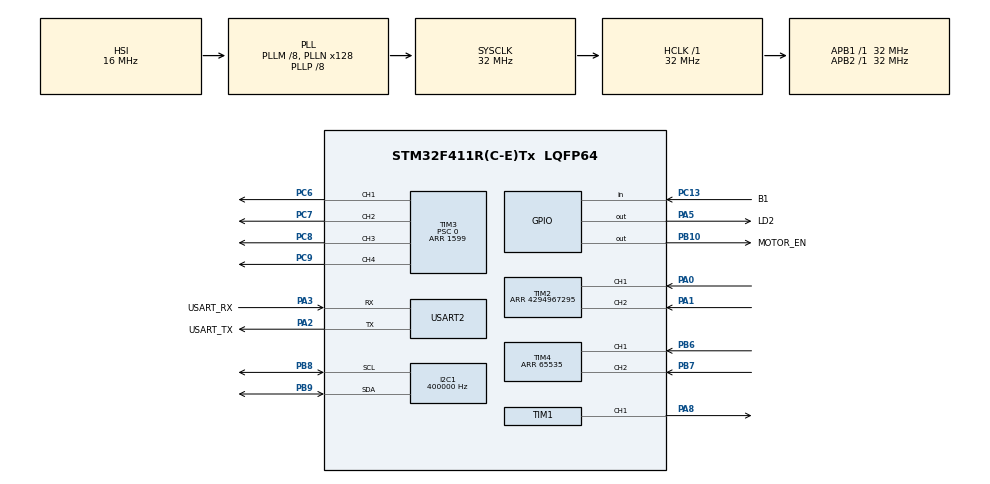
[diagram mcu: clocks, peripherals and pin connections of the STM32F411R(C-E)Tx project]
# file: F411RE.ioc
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I2C1.ClockSpeed=400000
I2C1.DutyCycle=I2C_DUTYCYCLE_2
I2C1.I2C_Mode=I2C_Fast
Mcu.Family=STM32F4
Mcu.Name=STM32F411R(C-E)Tx
Mcu.Package=LQFP64
NVIC.PriorityGroup=NVIC_PRIORITYGROUP_4
NVIC.TIM5_IRQn=true\:0\:0\:false\:false\:true\:true\:true\:true
PA0-WKUP.Signal=S_TIM2_CH1_ETR
PA1.Signal=S_TIM2_CH2
PA13.GPIO_Label=TMS
PA13.Mode=Serial_Wire
PA13.Signal=SYS_JTMS-SWDIO
PA14.GPIO_Label=TCK
PA14.Mode=Serial_Wire
PA14.Signal=SYS_JTCK-SWCLK
PA2.GPIO_Label=USART_TX
PA2.GPIO_Speed=GPIO_SPEED_FREQ_VERY_HIGH
PA2.Mode=Asynchronous
PA2.Signal=USART2_TX
PA3.GPIO_Label=USART_RX
PA3.GPIO_Speed=GPIO_SPEED_FREQ_VERY_HIGH
PA3.Mode=Asynchronous
PA3.Signal=USART2_RX
PA5.GPIO_Label=LD2
PA5.Signal=GPIO_Output
PA8.Signal=S_TIM1_CH1
PB10.GPIO_Label=MOTOR_EN
PB10.Signal=GPIO_Output
PB3.GPIO_Label=SWO
PB3.Signal=SYS_JTDO-SWO
PB6.Signal=S_TIM4_CH1
PB7.Signal=S_TIM4_CH2
PB8.GPIO_Speed=GPIO_SPEED_FREQ_VERY_HIGH
PB8.Mode=I2C
PB8.Signal=I2C1_SCL
PB9.GPIO_Speed=GPIO_SPEED_FREQ_VERY_HIGH
PB9.Mode=I2C
PB9.Signal=I2C1_SDA
PC13-ANTI_TAMP.GPIO_Label=B1
PC13-ANTI_TAMP.Signal=GPIO_Input
PC6.Signal=S_TIM3_CH1
PC7.Signal=S_TIM3_CH2
PC8.Signal=S_TIM3_CH3
PC9.Signal=S_TIM3_CH4
ProjectManager.HeapSize=0x200
ProjectManager.StackSize=0x400
ProjectManager.TargetToolchain=CMake
RCC.AHBFreq_Value=32000000
RCC.APB1CLKDivider=RCC_HCLK_DIV1
RCC.APB1Freq_Value=32000000
RCC.APB1TimFreq_Value=32000000
RCC.APB2Freq_Value=32000000
RCC.APB2TimFreq_Value=32000000
RCC.CortexFreq_Value=32000000
RCC.FLatency-AdvancedSettings=FLASH_LATENCY_1
RCC.HCLKFreq_Value=32000000
RCC.HSE_VALUE=8000000
RCC.HSI_VALUE=16000000
RCC.PLLM=8
RCC.PLLN=128
RCC.PLLP=RCC_PLLP_DIV8
RCC.PLLQ=8
RCC.PWR_Regulator_Voltage_Scale=PWR_REGULATOR_VOLTAGE_SCALE3
RCC.SYSCLKFreq_VALUE=32000000
RCC.SYSCLKSource=RCC_SYSCLKSOURCE_PLLCLK
RCC.VCOOutputFreq_Value=256000000
SH.S_TIM1_CH1.0=TIM1_CH1,PWM Generation1 CH1
SH.S_TIM2_CH1_ETR.0=TIM2_CH1,Encoder_Interface
SH.S_TIM2_CH2.0=TIM2_CH2,Encoder_Interface
SH.S_TIM3_CH1.0=TIM3_CH1,PWM Generation1 CH1
SH.S_TIM3_CH2.0=TIM3_CH2,PWM Generation2 CH2
SH.S_TIM3_CH3.0=TIM3_CH3,PWM Generation3 CH3
SH.S_TIM3_CH4.0=TIM3_CH4,PWM Generation4 CH4
SH.S_TIM4_CH1.0=TIM4_CH1,Encoder_Interface
SH.S_TIM4_CH2.0=TIM4_CH2,Encoder_Interface
TIM1.Channel-PWM\ Generation1\ CH1=TIM_CHANNEL_1
TIM1.Period=19999
TIM1.Prescaler=31
TIM2.EncoderMode=TIM_ENCODERMODE_TI12
TIM2.IC1Filter=8
TIM2.IC2Filter=8
TIM2.Period=4294967295
TIM3.Channel-PWM\ Generation1\ CH1=TIM_CHANNEL_1
TIM3.Channel-PWM\ Generation2\ CH2=TIM_CHANNEL_2
TIM3.Channel-PWM\ Generation3\ CH3=TIM_CHANNEL_3
TIM3.Channel-PWM\ Generation4\ CH4=TIM_CHANNEL_4
TIM3.Period=1599
TIM3.Prescaler=0
TIM4.EncoderMode=TIM_ENCODERMODE_TI12
TIM4.IC1Filter=8
TIM4.IC2Filter=8
TIM4.Period=65535
TIM5.Period=99
TIM5.Prescaler=3199
USART2.VirtualMode=VM_ASYNC
VP_TIM1_VS_ClockSourceINT.Mode=Internal
VP_TIM3_VS_ClockSourceINT.Mode=Internal
VP_TIM5_VS_ClockSourceINT.Mode=Internal
board=NUCLEO-F411RE

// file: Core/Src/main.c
/* USER CODE BEGIN Header */
/**
  ******************************************************************************
  * @file           : main.c
  * @brief          : Main program body
  ******************************************************************************
  * @attention
  *
  * Copyright (c) 2026 STMicroelectronics.
  * All rights reserved.
  *
  * This software is licensed under terms that can be found in the LICENSE file
  * in the root directory of this software component.
  * If no LICENSE file comes with this software, it is provided AS-IS.
  *
  ******************************************************************************
  */
/* USER CODE END Header */
#include "main.h"

/* USER CODE BEGIN Includes */
#include <stdio.h>
#include "constants.h"
#include "pins.h"
#include "motor.h"
#include "servo.h"
#include "control.h"
#include "bno085.h"
#include "heading_hold.h"
#include "distance.h"
#include "math_utils.h"
#include <math.h>
#include "route.h"
#include "route_steps.h"

/* USER CODE END Includes */

I2C_HandleTypeDef hi2c1;

TIM_HandleTypeDef htim1;
TIM_HandleTypeDef htim2;
TIM_HandleTypeDef htim3;
TIM_HandleTypeDef htim4;
TIM_HandleTypeDef htim5;

UART_HandleTypeDef huart2;

/* USER CODE BEGIN PV */
/* Written by the TIM5 interrupt, read by the main loop */
static volatile uint32_t sample_seq     = 0;  /* number of encoder samples since the start */
static volatile uint16_t sample_count_l = 0;  /* left encoder count at the last sample     */
static volatile uint16_t sample_count_r = 0;  /* right encoder count at the last sample    */
UART_HandleTypeDef huart_bt;                  /* Bluetooth module link (USART1). The IRQ handler uses it. */
/* USER CODE END PV */

void SystemClock_Config(void);
static void MX_GPIO_Init(void);
static void MX_USART2_UART_Init(void);
static void MX_TIM1_Init(void);
static void MX_TIM5_Init(void);
static void MX_I2C1_Init(void);
static void MX_TIM2_Init(void);
static void MX_TIM3_Init(void);
static void MX_TIM4_Init(void);

/* USER CODE BEGIN 0 */
static Motor motor_l, motor_r;
static Servo servo;

static Bno085      imu;
static HeadingHold heading;
static Control     ctl;   /* control core (control.c): the same code runs in the dashboard sim */

/* Route runner (route.c, the same code as the dashboard sim). Key R runs the route of route_steps.h.
 * Any other operator key stops it. */
static Route   route;
static int32_t odo_counts_l = 0, odo_counts_r = 0;  /* encoder counts since the start, + = forward */
static int     route_step_sent = -1;                 /* step number last sent on the links          */

/* Distance for the telemetry: millimeters, -1 = no target, -2 = not valid. */
static int distance_for_telemetry(DistId id)
{
  uint16_t mm = 0;
  switch (distance_read(id, &mm))
  {
    case DIST_OK:        return (int)mm;
    case DIST_NO_TARGET: return -1;
    default:             return -2;
  }
}

/* Bluetooth module (HC-06) on USART1, BT_BAUD, 8 data bits, no parity, 1 stop bit.
 * shortcut: set up here, not in CubeMX. If you add USART1 in CubeMX, remove this function. */
static void bt_init(void)
{
  __HAL_RCC_GPIOA_CLK_ENABLE();
  __HAL_RCC_USART1_CLK_ENABLE();
  GPIO_InitTypeDef gpio = {0};
  gpio.Pin       = BT_TX_PIN | BT_RX_PIN;
  gpio.Mode      = GPIO_MODE_AF_PP;
  gpio.Pull      = GPIO_PULLUP;  /* RX stays high (idle) when no module is connected: no false keys */
  gpio.Speed     = GPIO_SPEED_FREQ_LOW;
  gpio.Alternate = BT_GPIO_AF;
  HAL_GPIO_Init(BT_GPIO_PORT, &gpio);

  huart_bt.Instance            = BT_UART;
  huart_bt.Init.BaudRate       = BT_BAUD;
  huart_bt.Init.WordLength     = UART_WORDLENGTH_8B;
  huart_bt.Init.StopBits       = UART_STOPBITS_1;
  huart_bt.Init.Parity         = UART_PARITY_NONE;
  huart_bt.Init.Mode           = UART_MODE_TX_RX;
  huart_bt.Init.HwFlowCtl      = UART_HWCONTROL_NONE;
  huart_bt.Init.OverSampling   = UART_OVERSAMPLING_16;
  if (HAL_UART_Init(&huart_bt) != HAL_OK) { Error_Handler(); }
  HAL_NVIC_SetPriority(BT_UART_IRQn, 5, 0);  /* transmission only; the keys are polled */
  HAL_NVIC_EnableIRQ(BT_UART_IRQn);
}

/* Read one received character. Returns -1 when there is none. This function does not wait.
 * A character with a framing, noise or parity error is not used.
 * F4 USART: read SR, then DR. This sequence also clears ORE, FE, NE and PE. */
static int read_char(USART_TypeDef *uart)
{
  const uint32_t sr = uart->SR;
  if ((sr & USART_SR_RXNE) == 0U)
  {
    if ((sr & USART_SR_ORE) != 0U) { (void)uart->DR; }  /* overrun and no data: clear the flag */
    return -1;
  }
  const int ch = (int)(uart->DR & 0xFFU);
  if ((sr & (USART_SR_FE | USART_SR_NE | USART_SR_PE)) != 0U) { return -1; }
  return ch;
}

/* printf (syscalls.c, _write) sends each character here: USART2, the ST-LINK virtual COM port. */
int __io_putchar(int ch)
{
  uint8_t c = (uint8_t)ch;
  (void)HAL_UART_Transmit(&huart2, &c, 1U, HAL_MAX_DELAY);
  return ch;
}

/* Send a telemetry line on the two links. The USB link (printf) waits; the Bluetooth link uses
 * the interrupt and does not wait. When the previous Bluetooth line is not sent yet, this line
 * is not sent on Bluetooth (9600 baud is slow). */
static void send_line(const char *line, int len)
{
  static char bt_tx[160];
  if (len <= 0) { return; }
  if (len >= (int)sizeof bt_tx) { len = (int)sizeof bt_tx - 1; }
  printf("%s", line);
  if (huart_bt.gState == HAL_UART_STATE_READY)
  {
    for (int i = 0; i < len; i++) { bt_tx[i] = line[i]; }
    (void)HAL_UART_Transmit_IT(&huart_bt, (uint8_t *)bt_tx, (uint16_t)len);
  }
}

/* Send the outputs of the control core to the motors, the servo and the enable pin. */
static void apply_outputs(void)
{
  HAL_GPIO_WritePin(MOTOR_EN_GPIO_Port, MOTOR_EN_Pin, ctl.motor_enable ? GPIO_PIN_SET : GPIO_PIN_RESET);
  motor_set(&motor_l, ctl.cmd_l);
  motor_set(&motor_r, ctl.cmd_r);
  servo_set_deg(&servo, ctl.steer_deg);
}

/* The TIM5 interrupt gives the encoder samples. Copy them without an interrupt in between. */
static void wheel_control(uint32_t now)
{
  __disable_irq();
  const uint32_t seq     = sample_seq;
  const uint16_t count_l = sample_count_l;
  const uint16_t count_r = sample_count_r;
  __enable_irq();
  /* Wheel distance for the route runner. The 16-bit difference also works over the counter wrap. */
  static uint32_t odo_seq = 0;
  static uint16_t odo_prev_l = 0, odo_prev_r = 0;
  if (seq != odo_seq)
  {
    odo_counts_l += ENC_DIR_LEFT * (int16_t)(uint16_t)(count_l - odo_prev_l);
    odo_counts_r += ENC_DIR_RIGHT * (int16_t)(uint16_t)(count_r - odo_prev_r);
    odo_prev_l = count_l; odo_prev_r = count_r; odo_seq = seq;
  }
  control_wheels(&ctl, seq, count_l, count_r, now);
}

/* ToF readings for the route runner, in RouteSensor order. -1 = no target, or not valid. */
static void route_read_tof(void *ctx, int32_t mm[3])
{
  (void)ctx;
  for (int k = 0; k < 3; k++)
  {
    uint16_t v = 0;
    mm[k] = (DISTANCE_ENABLE && distance_read((DistId)k, &v) == DIST_OK) ? (int32_t)v : -1;
  }
}

/* One route line on the two links: "route " + text. The dashboard reads these lines. */
static void route_line(const char *text)
{
  char line[ROUTE_MSG_LEN + 80];
  send_line(line, snprintf(line, sizeof line, "route %s\r\n", text));
}

/* Id of the flashed route and its step count. The dashboard compares the id with its saved route. */
static void route_send_id(void)
{
  char t[48];
  snprintf(t, sizeof t, "id %s %d", ROUTE_ID, ROUTE_STEP_COUNT);
  route_line(t);
}

/* One key from an operator link (USB or Bluetooth). R: run the route. ?: send the route id.
 * Other keys: stop the route, then give the key to the control core. */
static void operator_key(char k, uint32_t now)
{
  if (k == 'r' || k == 'R')
  {
    if (!route.running)
    {
      RouteConfig cfg;
      route_config_default(&cfg);
      route_start(&route, ROUTE_STEPS, ROUTE_STEP_COUNT, 0, false, &cfg, route_read_tof, NULL);
      route_step_sent = -1;
      route_send_id();
      route_line("run");
    }
    return;
  }
  if (k == '?') { route_send_id(); return; }
  if (route.running) { route_stop(&route); route_line("stop"); }
  control_key(&ctl, k, now);
}

/* Each main loop, before the operator keys: one step of the route runner, as in the dashboard sim. */
static void route_tick(uint32_t now)
{
  if (!route.running) { return; }
  const RouteInput in = {
    now,
    (float)(odo_counts_l + odo_counts_r) * 0.5f / (float)COUNTS_PER_WHEEL_REV * 3.14159265f * WHEEL_DIAMETER_MM,
    ctl.current_yaw, ctl.heading_goal, fmaxf(fabsf(ctl.rpm_l), fabsf(ctl.rpm_r)) };
  route_step(&route, &in);
  if (route.set_goal) { ctl.heading_goal = route.goal_deg; }
  for (int k = 0; k < route.nkeys; k++) { control_key(&ctl, route.keys[k], now); }
  for (int k = 0; k < route.nmsg; k++)
  {
    char t[ROUTE_MSG_LEN + 64];
    const unsigned long s = now / 1000U, ds = now % 1000U / 100U;
    if (route.report[k] >= 0)  /* checkpoint: the car cannot know its true error, so send the readings */
    {
      int32_t mm[3];
      route_read_tof(NULL, mm);
      snprintf(t, sizeof t, "log %lu.%lu %d checkpoint %s: ToF F/RL/RH %ld / %ld / %ld mm", s, ds,
               route.report[k] + 1, ROUTE_STEPS[route.report[k]].label, (long)mm[0], (long)mm[1], (long)mm[2]);
    }
    else
    {
      snprintf(t, sizeof t, "log %lu.%lu %s", s, ds, route.msg[k]);
    }
    route_line(t);
  }
  if (route.i != route_step_sent)
  {
    char t[24];
    route_step_sent = route.i;
    snprintf(t, sizeof t, "step %d", route.i);
    route_line(t);
  }
  if (!route.running) { route_line("stop"); }
}
/* USER CODE END 0 */

int main(void)
{

  /* MCU Configuration--------------------------------------------------------*/

  /* Reset of all peripherals, Initializes the Flash interface and the Systick. */
  HAL_Init();

  /* Configure the system clock */
  SystemClock_Config();

  /* Initialize all configured peripherals */
  MX_GPIO_Init();
  MX_USART2_UART_Init();
  MX_TIM1_Init();
  MX_TIM5_Init();
  MX_I2C1_Init();
  MX_TIM2_Init();
  MX_TIM3_Init();
  MX_TIM4_Init();
  /* USER CODE BEGIN 2 */
  /* MOTOR_PWM_HZ sets the motor PWM frequency. This replaces the period value from CubeMX.
   * F411: the motor timer is TIM3, on APB1.
   * shortcut: correct only while the APB1 clock divider is 1 (timer clock = PCLK1). */
  __HAL_TIM_SET_AUTORELOAD(&MOTOR_PWM_TIM,
      HAL_RCC_GetPCLK1Freq() / (MOTOR_PWM_TIM.Init.Prescaler + 1U) / MOTOR_PWM_HZ - 1U);
  motor_init(&motor_l, &MOTOR_PWM_TIM, MOTOR_L_FWD_CH, MOTOR_L_REV_CH);
  motor_init(&motor_r, &MOTOR_PWM_TIM, MOTOR_R_FWD_CH, MOTOR_R_REV_CH);
  servo_init(&servo, &SERVO_TIM, SERVO_CHANNEL);

  /* BNO085 start and heading zero: about 3 s. The vehicle must not move during this time.
   * If the sensor does not answer, the firmware continues without heading data. */
  heading_hold_init(&heading, &imu);
  const bool imu_ok = bno085_begin(&imu, &BNO_I2C, BNO085_I2C_ADDR)
                   && heading_hold_calibrate(&heading, HEADING_CAL_SAMPLES, HEADING_CAL_WARMUP_MS);

  /* A sensor that does not answer gives DIST_NOT_VALID. The other sensors continue to operate. */
  if (DISTANCE_ENABLE) { distance_init(&TOF_I2C); }

  HAL_TIM_Encoder_Start(&ENC_L_TIM, TIM_CHANNEL_ALL);
  HAL_TIM_Encoder_Start(&ENC_R_TIM, TIM_CHANNEL_ALL);
  /* WHEEL_CONTROL_PERIOD_MS sets the TIM5 period. This replaces the period value from CubeMX,
   * so the sample time and the RPM calculation always agree.
   * shortcut: correct only while the APB1 clock divider is 1 (timer clock = PCLK1). */
  __HAL_TIM_SET_AUTORELOAD(&ENC_SAMPLE_TIM,
      HAL_RCC_GetPCLK1Freq() / (ENC_SAMPLE_TIM.Init.Prescaler + 1U) / 1000U * WHEEL_CONTROL_PERIOD_MS - 1U);
  HAL_TIM_Base_Start_IT(&ENC_SAMPLE_TIM);

  uint32_t t_telemetry = HAL_GetTick();
  uint32_t t_steering  = t_telemetry;
  uint32_t t_imu_read  = t_telemetry;
  control_init(&ctl, imu_ok, t_telemetry);
  apply_outputs();
  bt_init();
  /* USER CODE END 2 */

  /* Infinite loop */
  while (1)
  {

    /* USER CODE BEGIN 3 */
    uint32_t now = HAL_GetTick();

    route_tick(now);

    /* One key from each link: USB (ST-LINK, USART2) and Bluetooth (USART1). Same keys. */
    int key = read_char(huart2.Instance);
    if (key >= 0) { operator_key((char)key, now); }
    key = read_char(huart_bt.Instance);
    if (key >= 0) { operator_key((char)key, now); }

    control_tick(&ctl, now);
    wheel_control(now);

    /* The BNO085 read uses I2C and can take some milliseconds. It stays in the main loop. */
    if (now - t_imu_read >= BNO_READ_PERIOD_MS)
    {
      t_imu_read = now;
      bno085_update(&imu);
    }
    if (DISTANCE_ENABLE) { distance_update(); }
    if (now - t_steering >= STEERING_CONTROL_PERIOD_MS)
    {
      t_steering = now;
      const HeadingSample sample = heading_hold_sample(&heading, now);
      control_steering(&ctl, &sample);
    }
    apply_outputs();

    /* shortcut: printf stops the loop for some milliseconds. If the overrun count ("ov")
     * increases, use interrupt or DMA transmission. */
    if (now - t_telemetry >= TELEMETRY_PERIOD_MS)
    {
      t_telemetry = now;
      /* g and r: heading change since the start, from the Game Rotation Vector and the
       * Rotation Vector. Each report has its own zero reference. */
      const char *imu_state = !imu_ok ? " IMU-FAIL"
                            : !bno085_fresh(&imu, HEADING_SOURCE, now) ? " IMU-STALE" : "";
      char line[160];
      int  len = snprintf(line, sizeof line,
             "tgt %d rpm %d %d cmd %d %d steer %d g %d r %d rst %lu ov %lu%s%s\r\n",
             (int)ctl.target_rpm, (int)ctl.rpm_l, (int)ctl.rpm_r, (int)ctl.cmd_l, (int)ctl.cmd_r,
             (int)ctl.steer_deg,
             (int)bno085_relative_yaw(&imu, HEADING_SOURCE_GAME_RV),
             (int)bno085_relative_yaw(&imu, HEADING_SOURCE_RV),
             (unsigned long)imu.reset_count, (unsigned long)ctl.overruns,
             ctl.stalled ? " STALL" : "", imu_state);
      send_line(line, len);
      /* A second line, so that the format of the first line does not change. */
      if (DISTANCE_ENABLE)
      {
        len = snprintf(line, sizeof line, "dist %d %d %d\r\n", distance_for_telemetry(DIST_FRONT),
                       distance_for_telemetry(DIST_RIGHT_LOW), distance_for_telemetry(DIST_RIGHT_HIGH));
        send_line(line, len);
      }
    }
  }
  /* USER CODE END 3 */
}

void SystemClock_Config(void)
{
  RCC_OscInitTypeDef RCC_OscInitStruct = {0};
  RCC_ClkInitTypeDef RCC_ClkInitStruct = {0};

  /** Configure the main internal regulator output voltage
  */
  __HAL_RCC_PWR_CLK_ENABLE();
  __HAL_PWR_VOLTAGESCALING_CONFIG(PWR_REGULATOR_VOLTAGE_SCALE3);

  /** Initializes the RCC Oscillators according to the specified parameters
  * in the RCC_OscInitTypeDef structure.
  * VCO in = 16 / 8 = 2 MHz. VCO out = 2 * 128 = 256 MHz. SYSCLK = 256 / 8 = 32 MHz.
  */
  RCC_OscInitStruct.OscillatorType = RCC_OSCILLATORTYPE_HSI;
  RCC_OscInitStruct.HSIState = RCC_HSI_ON;
  RCC_OscInitStruct.HSICalibrationValue = RCC_HSICALIBRATION_DEFAULT;
  RCC_OscInitStruct.PLL.PLLState = RCC_PLL_ON;
  RCC_OscInitStruct.PLL.PLLSource = RCC_PLLSOURCE_HSI;
  RCC_OscInitStruct.PLL.PLLM = 8;
  RCC_OscInitStruct.PLL.PLLN = 128;
  RCC_OscInitStruct.PLL.PLLP = RCC_PLLP_DIV8;
  RCC_OscInitStruct.PLL.PLLQ = 8;
  if (HAL_RCC_OscConfig(&RCC_OscInitStruct) != HAL_OK)
  {
    Error_Handler();
  }

  /** Initializes the CPU, AHB and APB buses clocks
  */
  RCC_ClkInitStruct.ClockType = RCC_CLOCKTYPE_HCLK|RCC_CLOCKTYPE_SYSCLK
                              |RCC_CLOCKTYPE_PCLK1|RCC_CLOCKTYPE_PCLK2;
  RCC_ClkInitStruct.SYSCLKSource = RCC_SYSCLKSOURCE_PLLCLK;
  RCC_ClkInitStruct.AHBCLKDivider = RCC_SYSCLK_DIV1;
  RCC_ClkInitStruct.APB1CLKDivider = RCC_HCLK_DIV1;
  RCC_ClkInitStruct.APB2CLKDivider = RCC_HCLK_DIV1;

  if (HAL_RCC_ClockConfig(&RCC_ClkInitStruct, FLASH_LATENCY_1) != HAL_OK)
  {
    Error_Handler();
  }
}

static void MX_I2C1_Init(void)
{

  hi2c1.Instance = I2C1;
  hi2c1.Init.ClockSpeed = 400000;
  hi2c1.Init.DutyCycle = I2C_DUTYCYCLE_2;
  hi2c1.Init.OwnAddress1 = 0;
  hi2c1.Init.AddressingMode = I2C_ADDRESSINGMODE_7BIT;
  hi2c1.Init.DualAddressMode = I2C_DUALADDRESS_DISABLE;
  hi2c1.Init.OwnAddress2 = 0;
  hi2c1.Init.GeneralCallMode = I2C_GENERALCALL_DISABLE;
  hi2c1.Init.NoStretchMode = I2C_NOSTRETCH_DISABLE;
  if (HAL_I2C_Init(&hi2c1) != HAL_OK)
  {
    Error_Handler();
  }

}

static void MX_TIM1_Init(void)
{

  TIM_ClockConfigTypeDef sClockSourceConfig = {0};
  TIM_MasterConfigTypeDef sMasterConfig = {0};
  TIM_OC_InitTypeDef sConfigOC = {0};
  TIM_BreakDeadTimeConfigTypeDef sBreakDeadTimeConfig = {0};

  htim1.Instance = TIM1;
  htim1.Init.Prescaler = 31;
  htim1.Init.CounterMode = TIM_COUNTERMODE_UP;
  htim1.Init.Period = 19999;
  htim1.Init.ClockDivision = TIM_CLOCKDIVISION_DIV1;
  htim1.Init.RepetitionCounter = 0;
  htim1.Init.AutoReloadPreload = TIM_AUTORELOAD_PRELOAD_DISABLE;
  if (HAL_TIM_Base_Init(&htim1) != HAL_OK)
  {
    Error_Handler();
  }
  sClockSourceConfig.ClockSource = TIM_CLOCKSOURCE_INTERNAL;
  if (HAL_TIM_ConfigClockSource(&htim1, &sClockSourceConfig) != HAL_OK)
  {
    Error_Handler();
  }
  if (HAL_TIM_PWM_Init(&htim1) != HAL_OK)
  {
    Error_Handler();
  }
  sMasterConfig.MasterOutputTrigger = TIM_TRGO_RESET;
  sMasterConfig.MasterSlaveMode = TIM_MASTERSLAVEMODE_DISABLE;
  if (HAL_TIMEx_MasterConfigSynchronization(&htim1, &sMasterConfig) != HAL_OK)
  {
    Error_Handler();
  }
  sConfigOC.OCMode = TIM_OCMODE_PWM1;
  sConfigOC.Pulse = 0;
  sConfigOC.OCPolarity = TIM_OCPOLARITY_HIGH;
  sConfigOC.OCNPolarity = TIM_OCNPOLARITY_HIGH;
  sConfigOC.OCFastMode = TIM_OCFAST_DISABLE;
  sConfigOC.OCIdleState = TIM_OCIDLESTATE_RESET;
  sConfigOC.OCNIdleState = TIM_OCNIDLESTATE_RESET;
  if (HAL_TIM_PWM_ConfigChannel(&htim1, &sConfigOC, TIM_CHANNEL_1) != HAL_OK)
  {
    Error_Handler();
  }
  sBreakDeadTimeConfig.OffStateRunMode = TIM_OSSR_DISABLE;
  sBreakDeadTimeConfig.OffStateIDLEMode = TIM_OSSI_DISABLE;
  sBreakDeadTimeConfig.LockLevel = TIM_LOCKLEVEL_OFF;
  sBreakDeadTimeConfig.DeadTime = 0;
  sBreakDeadTimeConfig.BreakState = TIM_BREAK_DISABLE;
  sBreakDeadTimeConfig.BreakPolarity = TIM_BREAKPOLARITY_HIGH;
  sBreakDeadTimeConfig.AutomaticOutput = TIM_AUTOMATICOUTPUT_DISABLE;
  if (HAL_TIMEx_ConfigBreakDeadTime(&htim1, &sBreakDeadTimeConfig) != HAL_OK)
  {
    Error_Handler();
  }
  HAL_TIM_MspPostInit(&htim1);

}

static void MX_TIM2_Init(void)
{

  TIM_Encoder_InitTypeDef sConfig = {0};
  TIM_MasterConfigTypeDef sMasterConfig = {0};

  htim2.Instance = TIM2;
  htim2.Init.Prescaler = 0;
  htim2.Init.CounterMode = TIM_COUNTERMODE_UP;
  htim2.Init.Period = 4294967295;
  htim2.Init.ClockDivision = TIM_CLOCKDIVISION_DIV1;
  htim2.Init.AutoReloadPreload = TIM_AUTORELOAD_PRELOAD_DISABLE;
  sConfig.EncoderMode = TIM_ENCODERMODE_TI12;
  sConfig.IC1Polarity = TIM_ICPOLARITY_RISING;
  sConfig.IC1Selection = TIM_ICSELECTION_DIRECTTI;
  sConfig.IC1Prescaler = TIM_ICPSC_DIV1;
  sConfig.IC1Filter = 8;
  sConfig.IC2Polarity = TIM_ICPOLARITY_RISING;
  sConfig.IC2Selection = TIM_ICSELECTION_DIRECTTI;
  sConfig.IC2Prescaler = TIM_ICPSC_DIV1;
  sConfig.IC2Filter = 8;
  if (HAL_TIM_Encoder_Init(&htim2, &sConfig) != HAL_OK)
  {
    Error_Handler();
  }
  sMasterConfig.MasterOutputTrigger = TIM_TRGO_RESET;
  sMasterConfig.MasterSlaveMode = TIM_MASTERSLAVEMODE_DISABLE;
  if (HAL_TIMEx_MasterConfigSynchronization(&htim2, &sMasterConfig) != HAL_OK)
  {
    Error_Handler();
  }

}

static void MX_TIM3_Init(void)
{

  TIM_ClockConfigTypeDef sClockSourceConfig = {0};
  TIM_MasterConfigTypeDef sMasterConfig = {0};
  TIM_OC_InitTypeDef sConfigOC = {0};

  htim3.Instance = TIM3;
  htim3.Init.Prescaler = 0;
  htim3.Init.CounterMode = TIM_COUNTERMODE_UP;
  htim3.Init.Period = 1599;
  htim3.Init.ClockDivision = TIM_CLOCKDIVISION_DIV1;
  htim3.Init.AutoReloadPreload = TIM_AUTORELOAD_PRELOAD_DISABLE;
  if (HAL_TIM_Base_Init(&htim3) != HAL_OK)
  {
    Error_Handler();
  }
  sClockSourceConfig.ClockSource = TIM_CLOCKSOURCE_INTERNAL;
  if (HAL_TIM_ConfigClockSource(&htim3, &sClockSourceConfig) != HAL_OK)
  {
    Error_Handler();
  }
  if (HAL_TIM_PWM_Init(&htim3) != HAL_OK)
  {
    Error_Handler();
  }
  sMasterConfig.MasterOutputTrigger = TIM_TRGO_RESET;
  sMasterConfig.MasterSlaveMode = TIM_MASTERSLAVEMODE_DISABLE;
  if (HAL_TIMEx_MasterConfigSynchronization(&htim3, &sMasterConfig) != HAL_OK)
  {
    Error_Handler();
  }
  sConfigOC.OCMode = TIM_OCMODE_PWM1;
  sConfigOC.Pulse = 0;
  sConfigOC.OCPolarity = TIM_OCPOLARITY_HIGH;
  sConfigOC.OCFastMode = TIM_OCFAST_DISABLE;
  if (HAL_TIM_PWM_ConfigChannel(&htim3, &sConfigOC, TIM_CHANNEL_1) != HAL_OK)
  {
    Error_Handler();
  }
  if (HAL_TIM_PWM_ConfigChannel(&htim3, &sConfigOC, TIM_CHANNEL_2) != HAL_OK)
  {
    Error_Handler();
  }
  if (HAL_TIM_PWM_ConfigChannel(&htim3, &sConfigOC, TIM_CHANNEL_3) != HAL_OK)
  {
    Error_Handler();
  }
  if (HAL_TIM_PWM_ConfigChannel(&htim3, &sConfigOC, TIM_CHANNEL_4) != HAL_OK)
  {
    Error_Handler();
  }
  HAL_TIM_MspPostInit(&htim3);

}

static void MX_TIM4_Init(void)
{

  TIM_Encoder_InitTypeDef sConfig = {0};
  TIM_MasterConfigTypeDef sMasterConfig = {0};

  htim4.Instance = TIM4;
  htim4.Init.Prescaler = 0;
  htim4.Init.CounterMode = TIM_COUNTERMODE_UP;
  htim4.Init.Period = 65535;
  htim4.Init.ClockDivision = TIM_CLOCKDIVISION_DIV1;
  htim4.Init.AutoReloadPreload = TIM_AUTORELOAD_PRELOAD_DISABLE;
  sConfig.EncoderMode = TIM_ENCODERMODE_TI12;
  sConfig.IC1Polarity = TIM_ICPOLARITY_RISING;
  sConfig.IC1Selection = TIM_ICSELECTION_DIRECTTI;
  sConfig.IC1Prescaler = TIM_ICPSC_DIV1;
  sConfig.IC1Filter = 8;
  sConfig.IC2Polarity = TIM_ICPOLARITY_RISING;
  sConfig.IC2Selection = TIM_ICSELECTION_DIRECTTI;
  sConfig.IC2Prescaler = TIM_ICPSC_DIV1;
  sConfig.IC2Filter = 8;
  if (HAL_TIM_Encoder_Init(&htim4, &sConfig) != HAL_OK)
  {
    Error_Handler();
  }
  sMasterConfig.MasterOutputTrigger = TIM_TRGO_RESET;
  sMasterConfig.MasterSlaveMode = TIM_MASTERSLAVEMODE_DISABLE;
  if (HAL_TIMEx_MasterConfigSynchronization(&htim4, &sMasterConfig) != HAL_OK)
  {
    Error_Handler();
  }

}

static void MX_TIM5_Init(void)
{

  TIM_ClockConfigTypeDef sClockSourceConfig = {0};
  TIM_MasterConfigTypeDef sMasterConfig = {0};

  htim5.Instance = TIM5;
  htim5.Init.Prescaler = 3199;
  htim5.Init.CounterMode = TIM_COUNTERMODE_UP;
  htim5.Init.Period = 99;
  htim5.Init.ClockDivision = TIM_CLOCKDIVISION_DIV1;
  htim5.Init.AutoReloadPreload = TIM_AUTORELOAD_PRELOAD_DISABLE;
  if (HAL_TIM_Base_Init(&htim5) != HAL_OK)
  {
    Error_Handler();
  }
  sClockSourceConfig.ClockSource = TIM_CLOCKSOURCE_INTERNAL;
  if (HAL_TIM_ConfigClockSource(&htim5, &sClockSourceConfig) != HAL_OK)
  {
    Error_Handler();
  }
  sMasterConfig.MasterOutputTrigger = TIM_TRGO_RESET;
  sMasterConfig.MasterSlaveMode = TIM_MASTERSLAVEMODE_DISABLE;
  if (HAL_TIMEx_MasterConfigSynchronization(&htim5, &sMasterConfig) != HAL_OK)
  {
    Error_Handler();
  }

}

static void MX_USART2_UART_Init(void)
{

  huart2.Instance = USART2;
  huart2.Init.BaudRate = 115200;
  huart2.Init.WordLength = UART_WORDLENGTH_8B;
  huart2.Init.StopBits = UART_STOPBITS_1;
  huart2.Init.Parity = UART_PARITY_NONE;
  huart2.Init.Mode = UART_MODE_TX_RX;
  huart2.Init.HwFlowCtl = UART_HWCONTROL_NONE;
  huart2.Init.OverSampling = UART_OVERSAMPLING_16;
  if (HAL_UART_Init(&huart2) != HAL_OK)
  {
    Error_Handler();
  }

}

static void MX_GPIO_Init(void)
{
  GPIO_InitTypeDef GPIO_InitStruct = {0};

  /* GPIO Ports Clock Enable */
  __HAL_RCC_GPIOC_CLK_ENABLE();
  __HAL_RCC_GPIOH_CLK_ENABLE();
  __HAL_RCC_GPIOA_CLK_ENABLE();
  __HAL_RCC_GPIOB_CLK_ENABLE();

  /*Configure GPIO pin Output Level */
  HAL_GPIO_WritePin(LD2_GPIO_Port, LD2_Pin, GPIO_PIN_RESET);

  /*Configure GPIO pin Output Level */
  HAL_GPIO_WritePin(MOTOR_EN_GPIO_Port, MOTOR_EN_Pin, GPIO_PIN_RESET);

  /*Configure GPIO pin : B1_Pin */
  GPIO_InitStruct.Pin = B1_Pin;
  GPIO_InitStruct.Mode = GPIO_MODE_INPUT;
  GPIO_InitStruct.Pull = GPIO_NOPULL;
  HAL_GPIO_Init(B1_GPIO_Port, &GPIO_InitStruct);

  /*Configure GPIO pin : LD2_Pin */
  GPIO_InitStruct.Pin = LD2_Pin;
  GPIO_InitStruct.Mode = GPIO_MODE_OUTPUT_PP;
  GPIO_InitStruct.Pull = GPIO_NOPULL;
  GPIO_InitStruct.Speed = GPIO_SPEED_FREQ_LOW;
  HAL_GPIO_Init(LD2_GPIO_Port, &GPIO_InitStruct);

  /*Configure GPIO pin : MOTOR_EN_Pin */
  GPIO_InitStruct.Pin = MOTOR_EN_Pin;
  GPIO_InitStruct.Mode = GPIO_MODE_OUTPUT_PP;
  GPIO_InitStruct.Pull = GPIO_NOPULL;
  GPIO_InitStruct.Speed = GPIO_SPEED_FREQ_LOW;
  HAL_GPIO_Init(MOTOR_EN_GPIO_Port, &GPIO_InitStruct);

}

/* USER CODE BEGIN 4 */
/* ---- TIM5: record the two encoder counts. The main loop does the calculations. ---- */
void HAL_TIM_PeriodElapsedCallback(TIM_HandleTypeDef *htim)
{
  if (htim == &ENC_SAMPLE_TIM)
  {
    sample_count_l = (uint16_t)__HAL_TIM_GET_COUNTER(&ENC_L_TIM);
    sample_count_r = (uint16_t)__HAL_TIM_GET_COUNTER(&ENC_R_TIM);
    sample_seq++;
  }
}
/* USER CODE END 4 */

void Error_Handler(void)
{
  /* USER CODE BEGIN Error_Handler_Debug */
  __disable_irq();
  MOTOR_EN_GPIO_Port->BSRR = (uint32_t)MOTOR_EN_Pin << 16U;  /* fault: disable the two motor drivers */
  while (1)
  {
  }
  /* USER CODE END Error_Handler_Debug */
}
